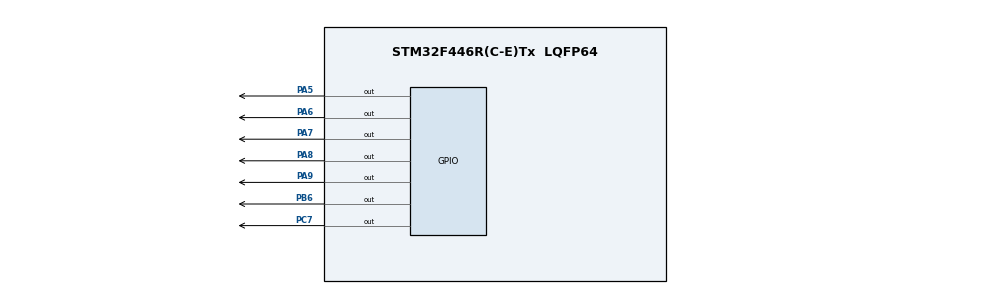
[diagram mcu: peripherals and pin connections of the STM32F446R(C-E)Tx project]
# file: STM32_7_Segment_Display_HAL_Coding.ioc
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Mcu.Family=STM32F4
Mcu.Name=STM32F446R(C-E)Tx
Mcu.Package=LQFP64
NVIC.PriorityGroup=NVIC_PRIORITYGROUP_4
PA5.Signal=GPIO_Output
PA6.Signal=GPIO_Output
PA7.Signal=GPIO_Output
PA8.Signal=GPIO_Output
PA9.Signal=GPIO_Output
PB6.Signal=GPIO_Output
PC7.Signal=GPIO_Output
ProjectManager.HeapSize=0x200
ProjectManager.StackSize=0x400
ProjectManager.TargetToolchain=STM32CubeIDE
RCC.CortexFreq_Value=16000000
RCC.USBFreq_Value=96000000
RCC.VCOOutputFreq_Value=192000000
board=custom

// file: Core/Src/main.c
/* USER CODE BEGIN Header */
/**
 ******************************************************************************
 * @file           : main.c
 * @brief          : Main program body
 ******************************************************************************
 * @attention
 *
 * Copyright (c) 2026 STMicroelectronics.
 * All rights reserved.
 *
 * This software is licensed under terms that can be found in the LICENSE file
 * in the root directory of this software component.
 * If no LICENSE file comes with this software, it is provided AS-IS.
 *
 ******************************************************************************
 */
/* USER CODE END Header */
#include "main.h"
#include "gpio.h"

/* USER CODE BEGIN Includes */
void display_digit(uint8_t digit);
/* USER CODE END Includes */

/* USER CODE BEGIN PTD */
typedef struct {
	GPIO_TypeDef* port;
	uint16_t pin;
} SegmentPin;

/* USER CODE END PTD */

/* USER CODE BEGIN PD */
SegmentPin segments[7] = {
		{GPIOA, GPIO_PIN_8}, // a
		{GPIOA, GPIO_PIN_9}, // b
		{GPIOC, GPIO_PIN_7}, // c
		{GPIOB, GPIO_PIN_6}, // d
		{GPIOA, GPIO_PIN_7}, // e
		{GPIOA, GPIO_PIN_6}, // f
		{GPIOA, GPIO_PIN_5}  // g (D13)
};
/* USER CODE END PD */

/* USER CODE BEGIN PV */
/* Common Cathode digit map (gfedcba) */
uint8_t digit_map[10] = {
    0x3F, // 0
    0x06, // 1
    0x5B, // 2
    0x4F, // 3
    0x66, // 4
    0x6D, // 5
    0x7D, // 6
    0x07, // 7
    0x7F, // 8
    0x6F  // 9
};
/* USER CODE END PV */

void SystemClock_Config(void);

int main(void)
{

	/* MCU Configuration--------------------------------------------------------*/

	/* Reset of all peripherals, Initializes the Flash interface and the Systick. */
	HAL_Init();

	/* Configure the system clock */
	SystemClock_Config();

	/* Initialize all configured peripherals */
	MX_GPIO_Init();

	/* Infinite loop */
	while (1)
	{

		/* USER CODE BEGIN 3 */
		// Count UP: 0 to 9
		for (uint8_t i = 0; i <= 9; i++)
		{
			display_digit(i);
			HAL_Delay(800);
		}

		// Count DOWN: 8 to 1
		for (int8_t i = 8; i >= 1; i--)
		{
			display_digit(i);
			HAL_Delay(800);
		}
	}
	/* USER CODE END 3 */
}

void SystemClock_Config(void)
{
	RCC_OscInitTypeDef RCC_OscInitStruct = {0};
	RCC_ClkInitTypeDef RCC_ClkInitStruct = {0};

	/** Configure the main internal regulator output voltage
	 */
	__HAL_RCC_PWR_CLK_ENABLE();
	__HAL_PWR_VOLTAGESCALING_CONFIG(PWR_REGULATOR_VOLTAGE_SCALE3);

	/** Initializes the RCC Oscillators according to the specified parameters
	 * in the RCC_OscInitTypeDef structure.
	 */
	RCC_OscInitStruct.OscillatorType = RCC_OSCILLATORTYPE_HSI;
	RCC_OscInitStruct.HSIState = RCC_HSI_ON;
	RCC_OscInitStruct.HSICalibrationValue = RCC_HSICALIBRATION_DEFAULT;
	RCC_OscInitStruct.PLL.PLLState = RCC_PLL_NONE;
	if (HAL_RCC_OscConfig(&RCC_OscInitStruct) != HAL_OK)
	{
		Error_Handler();
	}

	/** Initializes the CPU, AHB and APB buses clocks
	 */
	RCC_ClkInitStruct.ClockType = RCC_CLOCKTYPE_HCLK|RCC_CLOCKTYPE_SYSCLK
			|RCC_CLOCKTYPE_PCLK1|RCC_CLOCKTYPE_PCLK2;
	RCC_ClkInitStruct.SYSCLKSource = RCC_SYSCLKSOURCE_HSI;
	RCC_ClkInitStruct.AHBCLKDivider = RCC_SYSCLK_DIV1;
	RCC_ClkInitStruct.APB1CLKDivider = RCC_HCLK_DIV1;
	RCC_ClkInitStruct.APB2CLKDivider = RCC_HCLK_DIV1;

	if (HAL_RCC_ClockConfig(&RCC_ClkInitStruct, FLASH_LATENCY_0) != HAL_OK)
	{
		Error_Handler();
	}
}

/* USER CODE BEGIN 4 */
void display_digit(uint8_t digit)
{
    if (digit > 9) return;

    uint8_t pattern = digit_map[digit];

    for (int i = 0; i < 7; i++)
    {
        if (pattern & (1 << i))
            HAL_GPIO_WritePin(segments[i].port,
                              segments[i].pin,
                              GPIO_PIN_SET);   // ON
        else
            HAL_GPIO_WritePin(segments[i].port,
                              segments[i].pin,
                              GPIO_PIN_RESET); // OFF
    }
}
/* USER CODE END 4 */

void Error_Handler(void)
{
	__disable_irq();
	while (1)
	{
	}
}
